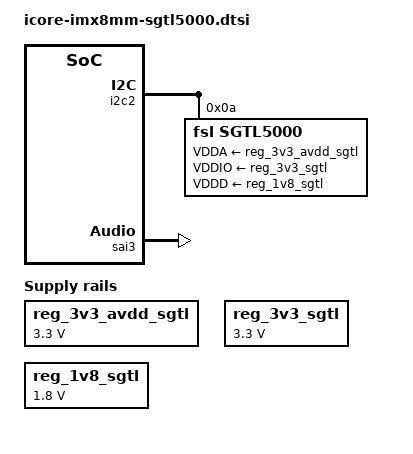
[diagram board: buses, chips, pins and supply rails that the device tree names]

#include <dt-bindings/clock/imx8mm-clock.h>
#include <dt-bindings/pinctrl/pins-imx8mm.h>

/ {

	regulators {
		compatible = "simple-bus";
		#address-cells = <1>;
		#size-cells = <0>;

		reg_3v3_avdd_sgtl: reg_3v3_avdd_regulator {
			compatible = "regulator-fixed";
			regulator-name = "3v3_avdd_sgtl";
			regulator-min-microvolt = <3300000>;
			regulator-max-microvolt = <3300000>;
			always-on;
		};

		reg_3v3_sgtl: reg_3v3_sgtl_regulator {
			compatible = "regulator-fixed";
			regulator-name = "3v3_sgtl";
			regulator-min-microvolt = <3300000>;
			regulator-max-microvolt = <3300000>;
			always-on;
		};

		reg_1v8_sgtl: reg_1v8_sgtl_regulator {
			compatible = "regulator-fixed";
			regulator-name = "1v8_sgtl";
			regulator-min-microvolt = <1800000>;
			regulator-max-microvolt = <1800000>;
			always-on;
		};
	};

    sound {
        compatible = "simple-audio-card";
        simple-audio-card,name = "imx8mm-sgtl5000";
        simple-audio-card,format = "i2s";
        simple-audio-card,bitclock-master = <&dailink_master>;
        simple-audio-card,frame-master = <&dailink_master>;
        /*simple-audio-card,mclk-fs = <1>;*/
        simple-audio-card,cpu {
                sound-dai = <&sai3>;
        };

        dailink_master: simple-audio-card,codec {
            sound-dai = <&sgtl5000>;
            clocks = <&clk IMX8MM_CLK_SAI3_DIV>;
        };   
    };
};




&i2c2 {
        sgtl5000: codec@a {
                compatible = "fsl,sgtl5000";
                status = "okay";
                #sound-dai-cells = <0>;
//                pinctrl-names = "default";
//                pinctrl-0 = <&pinctrl_sgtl5000>;
                reg = <0x0a>;
                clocks = <&clk IMX8MM_CLK_SAI3_DIV>;
                clock-names = "mclk";
                assigned-clock-rates = <24576000>, <24576000>;                
                VDDA-supply = <&reg_3v3_avdd_sgtl>;
                VDDIO-supply = <&reg_3v3_sgtl>;
                VDDD-supply = <&reg_1v8_sgtl>;
        };
};

&sai3 {
	#sound-dai-cells = <0>;
	pinctrl-names = "default";
	pinctrl-0 = <&pinctrl_sai3>;
	assigned-clocks = <&clk IMX8MM_CLK_SAI3_SRC>,
			<&clk IMX8MM_CLK_SAI3_DIV>;
	assigned-clock-parents = <&clk IMX8MM_AUDIO_PLL1_OUT>;
	assigned-clock-rates = <0>, <24576000>;
	clocks = <&clk IMX8MM_CLK_SAI3_IPG>, <&clk IMX8MM_CLK_SAI3_ROOT>,
		<&clk IMX8MM_CLK_SAI3_ROOT>, <&clk IMX8MM_CLK_DUMMY>,
		<&clk IMX8MM_CLK_DUMMY>, <&clk IMX8MM_AUDIO_PLL1_OUT>,
		<&clk IMX8MM_AUDIO_PLL2_OUT>;
	clock-names = "bus", "mclk0", "mclk1", "mclk2", "mclk3", "pll8k", "pll11k";
	status = "okay";
};


